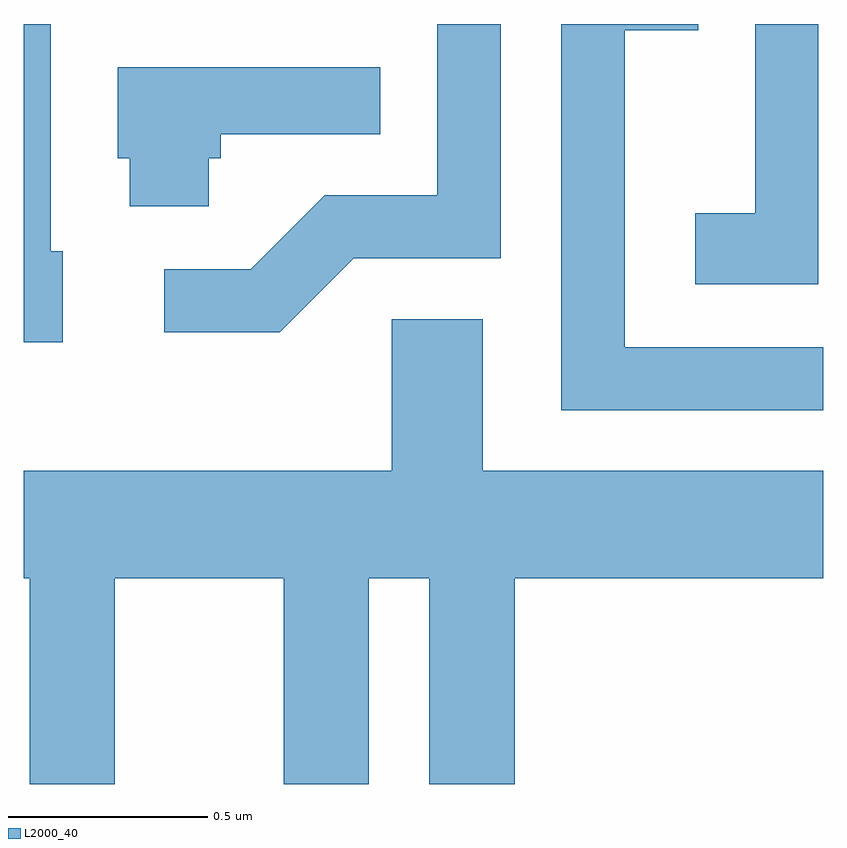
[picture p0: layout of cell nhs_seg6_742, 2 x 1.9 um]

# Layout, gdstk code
import gdstk
lib = gdstk.Library(unit=1e-6, precision=1e-09)
def P(c, l, *ps):  # polygons
    for p in ps: c.add(gdstk.Polygon(p, *l))
L2000_40 = (2000, 40)

nhs_seg6_742 = lib.new_cell('nhs_seg6_742')
P(nhs_seg6_742, L2000_40, [(191.437,1588.576),(191.804,1588.576),(191.804,1589.162),(191.646,1589.162),(191.646,1588.734),(191.364,1588.734),(191.179,1588.549),(190.963,1588.549),(190.963,1588.391),(191.252,1588.391)],
  [(192.599,1589.162),(192.441,1589.162),(192.441,1588.689),(192.291,1588.689),(192.291,1588.511),(192.599,1588.511)],
  [(190.709,1588.594),(190.679,1588.594),(190.679,1589.162),(190.611,1589.162),(190.611,1588.366),(190.709,1588.366)],
  [(192.611,1588.354),(192.114,1588.354),(192.114,1589.146),(192.298,1589.146),(192.298,1589.162),(191.956,1589.162),(191.956,1588.196),(192.611,1588.196)],
  [(191.074,1588.826),(191.104,1588.826),(191.104,1588.886),(191.503,1588.886),(191.503,1589.054),(190.846,1589.054),(190.846,1588.826),(190.876,1588.826),(190.876,1588.706),(191.074,1588.706)],
  [(190.839,1587.776),(191.261,1587.776),(191.261,1587.261),(191.474,1587.261),(191.474,1587.776),(191.626,1587.776),(191.626,1587.261),(191.839,1587.261),(191.839,1587.776),(192.611,1587.776),(192.611,1588.044),(191.759,1588.044),(191.759,1588.424),(191.531,1588.424),(191.531,1588.044),(190.611,1588.044),(190.611,1587.776),(190.626,1587.776),(190.626,1587.261),(190.839,1587.261)])

lib.write_gds('nhs_seg6_742.gds')
